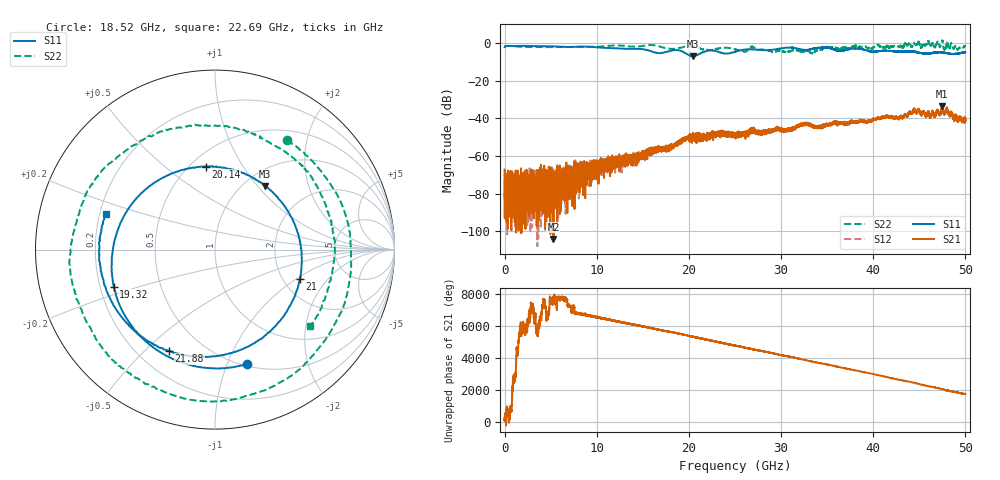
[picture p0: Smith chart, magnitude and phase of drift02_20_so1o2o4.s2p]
!Created with skrf (http://scikit-rf.org).
# Hz S RI R 50.0
!freq ReS11 ImS11 ReS21 ImS21 ReS12 ImS12 ReS22 ImS22
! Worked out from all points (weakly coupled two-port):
!   10001 points, 300 kHz to 50 GHz, reference 50 ohm
!   highest |S21| = -33.61 dB at 47.46 GHz (marker M1); lowest = -104.2 dB at 5.3 GHz (marker M2)
!   lowest |S11| = -6.9 dB at 20.45 GHz (marker M3), VSWR 2.64, Z = 61.5 + j54.7 ohm
!   |S11| at or under -10 dB: nowhere
!   |S22| runs from -5.4 to 1.5 dB; largest |S21 - S12| = 0.0029
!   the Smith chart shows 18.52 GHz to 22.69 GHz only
!   S11 on the Smith chart (normalised r, x): 18.52 GHz: 0.52, -1.18; 19.32 GHz: 0.26, -0.17; 20.14 GHz: 0.59, +0.70; 21 GHz: 2.47, -1.08; 21.88 GHz: 0.32, -0.60; 22.69 GHz: 0.23, +0.15
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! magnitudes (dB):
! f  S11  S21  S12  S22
! 300 kHz  -2.1  -67.3  -66.9  -1.3
! 265.3 MHz  -1.4  -84.8  -71.6  -1.4
! 1.32 GHz  -1.4  -71.6  -94.2  -1.7
! 5.3 GHz  -1.6  -104.2  -75.4  -2.0
! 8.335 GHz  -1.7  -75.1  -66.2  -1.9
! 16.67 GHz  -5.2  -57.4  -56.6  -1.5
! 18.52 GHz  -3.6  -53.7  -54.0  -2.8
! 19.32 GHz  -4.4  -51.7  -51.1  -2.1
! 20.14 GHz  -6.6  -50.2  -50.1  -1.5
! 20.45 GHz  -6.9  -49.4  -50.7  -1.8
! 21 GHz  -6.0  -49.5  -50.3  -2.3
! 21.88 GHz  -4.1  -50.0  -48.9  -3.5
! 22.69 GHz  -3.9  -49.1  -48.1  -3.4
! 25 GHz  -4.5  -49.0  -49.1  -3.2
! 26.12 GHz  -3.3  -49.1  -47.8  -4.3
! 26.9 GHz  -3.2  -45.9  -45.7  -1.7
! 33.34 GHz  -3.0  -43.7  -44.1  -5.1
! 34.89 GHz  -2.2  -43.1  -43.9  -2.3
! 41.67 GHz  -4.0  -39.1  -39.5  -2.2
! 44.62 GHz  -4.6  -36.5  -36.9  -0.6
! 47.46 GHz  -4.9  -33.6  -34.0  1.1
! 50 GHz  -4.8  -40.8  -41.3  -1.5
